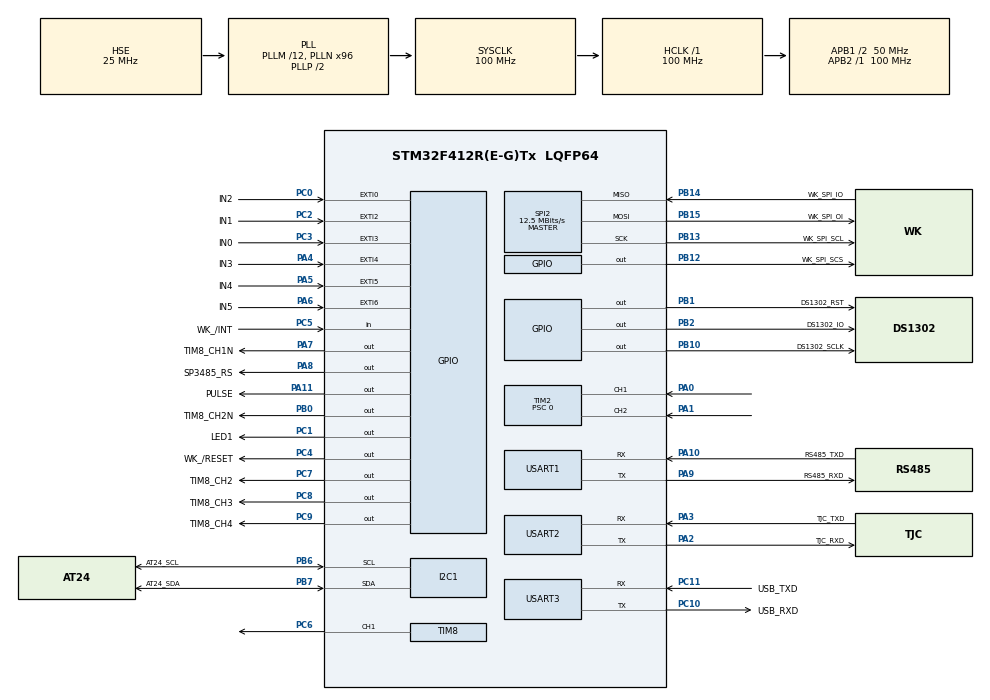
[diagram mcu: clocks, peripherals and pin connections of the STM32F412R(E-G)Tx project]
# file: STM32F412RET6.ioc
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Dma.Request0=USART1_RX
Dma.Request1=USART1_TX
Dma.USART1_RX.0.Direction=DMA_PERIPH_TO_MEMORY
Dma.USART1_RX.0.FIFOMode=DMA_FIFOMODE_DISABLE
Dma.USART1_RX.0.Instance=DMA2_Stream2
Dma.USART1_RX.0.MemDataAlignment=DMA_MDATAALIGN_BYTE
Dma.USART1_RX.0.MemInc=DMA_MINC_ENABLE
Dma.USART1_RX.0.Mode=DMA_NORMAL
Dma.USART1_RX.0.PeriphDataAlignment=DMA_PDATAALIGN_BYTE
Dma.USART1_RX.0.PeriphInc=DMA_PINC_DISABLE
Dma.USART1_RX.0.Priority=DMA_PRIORITY_LOW
Dma.USART1_TX.1.Direction=DMA_MEMORY_TO_PERIPH
Dma.USART1_TX.1.FIFOMode=DMA_FIFOMODE_DISABLE
Dma.USART1_TX.1.Instance=DMA2_Stream7
Dma.USART1_TX.1.MemDataAlignment=DMA_MDATAALIGN_BYTE
Dma.USART1_TX.1.MemInc=DMA_MINC_ENABLE
Dma.USART1_TX.1.Mode=DMA_NORMAL
Dma.USART1_TX.1.PeriphDataAlignment=DMA_PDATAALIGN_BYTE
Dma.USART1_TX.1.PeriphInc=DMA_PINC_DISABLE
Dma.USART1_TX.1.Priority=DMA_PRIORITY_LOW
FREERTOS.Queues01=myQueue01,5,uint8_t,0,Dynamic,NULL,NULL
FREERTOS.Tasks01=defaultTask,24,128,StartDefaultTask,Default,NULL,Dynamic,NULL,NULL;myTask01,8,128,StartTask01,Default,NULL,Dynamic,NULL,NULL
FREERTOS.configMAX_TASK_NAME_LEN=32
I2C1.I2C_Mode=I2C_Fast
IWDG.Prescaler=IWDG_PRESCALER_256
IWDG.Reload=4000
Mcu.Family=STM32F4
Mcu.Name=STM32F412R(E-G)Tx
Mcu.Package=LQFP64
NVIC.DMA2_Stream2_IRQn=true\:5\:0\:false\:false\:true\:true\:false\:true\:true
NVIC.DMA2_Stream7_IRQn=true\:5\:0\:false\:false\:true\:true\:false\:true\:true
NVIC.EXTI0_IRQn=true\:5\:0\:false\:false\:true\:true\:true\:true\:true
NVIC.EXTI2_IRQn=true\:5\:0\:false\:false\:true\:true\:true\:true\:true
NVIC.EXTI3_IRQn=true\:5\:0\:false\:false\:true\:true\:true\:true\:true
NVIC.I2C1_ER_IRQn=true\:5\:0\:false\:false\:true\:true\:true\:true\:true
NVIC.I2C1_EV_IRQn=true\:5\:0\:false\:false\:true\:true\:true\:true\:true
NVIC.PriorityGroup=NVIC_PRIORITYGROUP_4
NVIC.SPI2_IRQn=true\:5\:0\:false\:false\:true\:true\:true\:true\:true
NVIC.TIM1_UP_TIM10_IRQn=true\:15\:0\:false\:false\:true\:false\:false\:true\:true
NVIC.TIM2_IRQn=true\:5\:0\:true\:false\:true\:true\:true\:true\:true
NVIC.TIM3_IRQn=true\:6\:0\:true\:false\:true\:true\:true\:true\:true
NVIC.TIM8_BRK_TIM12_IRQn=true\:5\:0\:false\:false\:true\:true\:true\:true\:true
NVIC.TIM8_CC_IRQn=true\:5\:0\:false\:false\:true\:true\:true\:true\:true
NVIC.TIM8_TRG_COM_TIM14_IRQn=true\:5\:0\:false\:false\:true\:true\:true\:true\:true
NVIC.TIM8_UP_TIM13_IRQn=true\:5\:0\:false\:false\:true\:true\:true\:true\:true
NVIC.TimeBase=TIM1_UP_TIM10_IRQn
NVIC.TimeBaseIP=TIM1
NVIC.USART1_IRQn=true\:5\:0\:false\:false\:true\:true\:true\:true\:true
NVIC.USART2_IRQn=true\:5\:0\:false\:false\:true\:true\:true\:true\:true
NVIC.USART3_IRQn=true\:5\:0\:false\:false\:true\:true\:true\:true\:true
PA0.GPIO_PuPd=GPIO_PULLUP
PA0.Signal=S_TIM2_CH1_ETR
PA1.GPIO_PuPd=GPIO_PULLUP
PA1.Signal=S_TIM2_CH2
PA10.GPIO_Label=RS485_TXD
PA10.Mode=Asynchronous
PA10.Signal=USART1_RX
PA11.GPIO_Label=PULSE
PA11.GPIO_PuPd=GPIO_PULLDOWN
PA11.Signal=GPIO_Output
PA13.GPIO_Label=TMS
PA13.Mode=JTAG_5_pins
PA13.Signal=SYS_JTMS-SWDIO
PA14.GPIO_Label=TCK
PA14.Mode=JTAG_5_pins
PA14.Signal=SYS_JTCK-SWCLK
PA15.GPIO_Label=TDI
PA15.Mode=JTAG_5_pins
PA15.Signal=SYS_JTDI
PA2.GPIO_Label=TJC_RXD
PA2.Mode=Asynchronous
PA2.Signal=USART2_TX
PA3.GPIO_Label=TJC_TXD
PA3.Mode=Asynchronous
PA3.Signal=USART2_RX
PA4.GPIO_Label=IN3
PA4.GPIO_ModeDefaultEXTI=GPIO_MODE_IT_FALLING
PA4.Signal=GPXTI4
PA5.GPIO_Label=IN4
PA5.GPIO_ModeDefaultEXTI=GPIO_MODE_IT_FALLING
PA5.Signal=GPXTI5
PA6.GPIO_Label=IN5
PA6.GPIO_ModeDefaultEXTI=GPIO_MODE_IT_FALLING
PA6.Signal=GPXTI6
PA7.GPIO_Label=TIM8_CH1N
PA7.GPIO_PuPd=GPIO_PULLUP
PA7.PinState=GPIO_PIN_SET
PA7.Signal=GPIO_Output
PA8.GPIO_Label=SP3485_RS
PA8.Signal=GPIO_Output
PA9.GPIO_Label=RS485_RXD
PA9.Mode=Asynchronous
PA9.Signal=USART1_TX
PB0.GPIO_Label=TIM8_CH2N
PB0.GPIO_PuPd=GPIO_PULLUP
PB0.PinState=GPIO_PIN_SET
PB0.Signal=GPIO_Output
PB1.GPIO_Label=DS1302_RST
PB1.Signal=GPIO_Output
PB10.GPIO_Label=DS1302_SCLK
PB10.GPIO_PuPd=GPIO_PULLUP
PB10.Signal=GPIO_Output
PB12.GPIO_Label=WK_SPI_SCS
PB12.GPIO_ModeDefaultOutputPP=GPIO_MODE_OUTPUT_PP
PB12.GPIO_PuPd=GPIO_PULLUP
PB12.Signal=GPIO_Output
PB13.GPIO_Label=WK_SPI_SCL
PB13.Mode=Full_Duplex_Master
PB13.Signal=SPI2_SCK
PB14.GPIO_Label=WK_SPI_IO
PB14.Mode=Full_Duplex_Master
PB14.Signal=SPI2_MISO
PB15.GPIO_Label=WK_SPI_OI
PB15.Mode=Full_Duplex_Master
PB15.Signal=SPI2_MOSI
PB2.GPIO_Label=DS1302_IO
PB2.Signal=GPIO_Output
PB3.GPIO_Label=TDO
PB3.Mode=JTAG_5_pins
PB3.Signal=SYS_JTDO-SWO
PB4.GPIO_Label=NTRST
PB4.Mode=JTAG_5_pins
PB4.Signal=SYS_JTRST
PB6.GPIO_Label=AT24_SCL
PB6.Mode=I2C
PB6.Signal=I2C1_SCL
PB7.GPIO_Label=AT24_SDA
PB7.Mode=I2C
PB7.Signal=I2C1_SDA
PC0.GPIO_Label=IN2
PC0.GPIO_ModeDefaultEXTI=GPIO_MODE_IT_FALLING
PC0.Signal=GPXTI0
PC1.GPIO_Label=LED1
PC1.GPIO_PuPd=GPIO_PULLUP
PC1.Signal=GPIO_Output
PC10.GPIO_Label=USB_RXD
PC10.Mode=Asynchronous
PC10.Signal=USART3_TX
PC11.GPIO_Label=USB_TXD
PC11.Mode=Asynchronous
PC11.Signal=USART3_RX
PC2.GPIO_Label=IN1
PC2.GPIO_ModeDefaultEXTI=GPIO_MODE_IT_FALLING
PC2.Signal=GPXTI2
PC3.GPIO_Label=IN0
PC3.GPIO_ModeDefaultEXTI=GPIO_MODE_IT_FALLING
PC3.Signal=GPXTI3
PC4.GPIO_Label=WK_/RESET
PC4.Signal=GPIO_Output
PC5.GPIO_Label=WK_/INT
PC5.Signal=GPIO_Input
PC6.GPIO_Speed=GPIO_SPEED_FREQ_HIGH
PC6.Signal=S_TIM8_CH1
PC7.GPIO_Label=TIM8_CH2
PC7.GPIO_PuPd=GPIO_PULLUP
PC7.Signal=GPIO_Output
PC8.GPIO_Label=TIM8_CH3
PC8.GPIO_ModeDefaultOutputPP=GPIO_MODE_OUTPUT_PP
PC8.GPIO_PuPd=GPIO_PULLUP
PC8.PinState=GPIO_PIN_SET
PC8.Signal=GPIO_Output
PC9.GPIO_Label=TIM8_CH4
PC9.GPIO_PuPd=GPIO_PULLUP
PC9.PinState=GPIO_PIN_SET
PC9.Signal=GPIO_Output
PH0\ -\ OSC_IN.Mode=HSE-External-Oscillator
PH0\ -\ OSC_IN.Signal=RCC_OSC_IN
PH1\ -\ OSC_OUT.Mode=HSE-External-Oscillator
PH1\ -\ OSC_OUT.Signal=RCC_OSC_OUT
ProjectManager.HeapSize=0x200
ProjectManager.StackSize=0x400
ProjectManager.TargetToolchain=MDK-ARM V5.32
RCC.AHBFreq_Value=100000000
RCC.APB1CLKDivider=RCC_HCLK_DIV2
RCC.APB1Freq_Value=50000000
RCC.APB1TimFreq_Value=100000000
RCC.APB2Freq_Value=100000000
RCC.APB2TimFreq_Value=100000000
RCC.CortexFreq_Value=100000000
RCC.HCLKFreq_Value=100000000
RCC.PLLM=12
RCC.PLLN=96
RCC.PLLSourceVirtual=RCC_PLLSOURCE_HSE
RCC.SYSCLKFreq_VALUE=100000000
RCC.SYSCLKSource=RCC_SYSCLKSOURCE_PLLCLK
RCC.USBFreq_Value=100000000
RCC.VCOOutputFreq_Value=200000000
SH.S_TIM2_CH1_ETR.0=TIM2_CH1,Encoder_Interface
SH.S_TIM2_CH2.0=TIM2_CH2,Encoder_Interface
SH.S_TIM8_CH1.0=TIM8_CH1,PWM Generation1 CH1
SPI2.BaudRatePrescaler=SPI_BAUDRATEPRESCALER_4
SPI2.CLKPhase=SPI_PHASE_2EDGE
SPI2.CLKPolarity=SPI_POLARITY_HIGH
SPI2.CalculateBaudRate=12.5 MBits/s
SPI2.Direction=SPI_DIRECTION_2LINES
SPI2.Mode=SPI_MODE_MASTER
SPI2.VirtualType=VM_MASTER
TIM13.Period=50-1
TIM13.Prescaler=100-1
TIM2.EncoderMode=TIM_ENCODERMODE_TI12
TIM2.IC1Filter=6
TIM2.IC2Filter=6
TIM2.Period=20000
TIM2.Prescaler=0
TIM3.AutoReloadPreload=TIM_AUTORELOAD_PRELOAD_ENABLE
TIM3.Period=100-1
TIM3.Prescaler=100-1
TIM8.AutoReloadPreload=TIM_AUTORELOAD_PRELOAD_ENABLE
TIM8.Channel-PWM\ Generation1\ CH1=TIM_CHANNEL_1
TIM8.OCPolarity_1=TIM_OCPOLARITY_LOW
TIM8.Period=100-1
TIM8.Prescaler=100-1
TIM8.Pulse-PWM\ Generation1\ CH1=10
USART1.VirtualMode=VM_ASYNC
USART2.VirtualMode=VM_ASYNC
USART3.VirtualMode=VM_ASYNC
VP_FREERTOS_VS_CMSIS_V2.Mode=CMSIS_V2
VP_IWDG_VS_IWDG.Mode=IWDG_Activate
VP_SYS_VS_tim1.Mode=TIM1
VP_TIM13_VS_ClockSourceINT.Mode=Enable_Timer
VP_TIM3_VS_ClockSourceINT.Mode=Internal
board=custom

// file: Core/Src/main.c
/* USER CODE BEGIN Header */
/**
  ******************************************************************************
  * @file           : main.c
  * @brief          : Main program body
  ******************************************************************************
  * @attention
  *
  * Copyright (c) 2024 STMicroelectronics.
  * All rights reserved.
  *
  * This software is licensed under terms that can be found in the LICENSE file
  * in the root directory of this software component.
  * If no LICENSE file comes with this software, it is provided AS-IS.
  *
  ******************************************************************************
  */
/* USER CODE END Header */
#include "main.h"
#include "cmsis_os.h"
#include "dma.h"
#include "i2c.h"
#include "iwdg.h"
#include "spi.h"
#include "tim.h"
#include "usart.h"
#include "gpio.h"

/* USER CODE BEGIN PTD */
float speed_Record[SPEED_RECORD_NUM]={0};
int32_t Motor_pulsec_ount;//输入电机脉冲数
/* USER CODE END PTD */

void SystemClock_Config(void);
void MX_FREERTOS_Init(void);

int main(void)
{

  /* MCU Configuration--------------------------------------------------------*/

  /* Reset of all peripherals, Initializes the Flash interface and the Systick. */
  HAL_Init();

  /* Configure the system clock */
  SystemClock_Config();

  /* Initialize all configured peripherals */
  MX_GPIO_Init();
  MX_DMA_Init();
  MX_TIM2_Init();
  MX_USART1_UART_Init();
  MX_I2C1_Init();
  MX_SPI2_Init();
  MX_TIM3_Init();
  MX_TIM8_Init();
  MX_TIM13_Init();
  MX_USART3_UART_Init();
  MX_IWDG_Init();
  MX_USART2_UART_Init();

  /* Init scheduler */
  osKernelInitialize();  /* Call init function for freertos objects (in freertos.c) */
  MX_FREERTOS_Init();

  /* Start scheduler */
  osKernelStart();

  /* We should never get here as control is now taken by the scheduler */
  /* Infinite loop */
  while (1)
  {

  }
}

void SystemClock_Config(void)
{
  RCC_OscInitTypeDef RCC_OscInitStruct = {0};
  RCC_ClkInitTypeDef RCC_ClkInitStruct = {0};

  /** Configure the main internal regulator output voltage
  */
  __HAL_RCC_PWR_CLK_ENABLE();
  __HAL_PWR_VOLTAGESCALING_CONFIG(PWR_REGULATOR_VOLTAGE_SCALE1);

  /** Initializes the RCC Oscillators according to the specified parameters
  * in the RCC_OscInitTypeDef structure.
  */
  RCC_OscInitStruct.OscillatorType = RCC_OSCILLATORTYPE_LSI|RCC_OSCILLATORTYPE_HSE;
  RCC_OscInitStruct.HSEState = RCC_HSE_ON;
  RCC_OscInitStruct.LSIState = RCC_LSI_ON;
  RCC_OscInitStruct.PLL.PLLState = RCC_PLL_ON;
  RCC_OscInitStruct.PLL.PLLSource = RCC_PLLSOURCE_HSE;
  RCC_OscInitStruct.PLL.PLLM = 12;
  RCC_OscInitStruct.PLL.PLLN = 96;
  RCC_OscInitStruct.PLL.PLLP = RCC_PLLP_DIV2;
  RCC_OscInitStruct.PLL.PLLQ = 2;
  RCC_OscInitStruct.PLL.PLLR = 2;
  if (HAL_RCC_OscConfig(&RCC_OscInitStruct) != HAL_OK)
  {
    Error_Handler();
  }

  /** Initializes the CPU, AHB and APB buses clocks
  */
  RCC_ClkInitStruct.ClockType = RCC_CLOCKTYPE_HCLK|RCC_CLOCKTYPE_SYSCLK
                              |RCC_CLOCKTYPE_PCLK1|RCC_CLOCKTYPE_PCLK2;
  RCC_ClkInitStruct.SYSCLKSource = RCC_SYSCLKSOURCE_PLLCLK;
  RCC_ClkInitStruct.AHBCLKDivider = RCC_SYSCLK_DIV1;
  RCC_ClkInitStruct.APB1CLKDivider = RCC_HCLK_DIV2;
  RCC_ClkInitStruct.APB2CLKDivider = RCC_HCLK_DIV1;

  if (HAL_RCC_ClockConfig(&RCC_ClkInitStruct, FLASH_LATENCY_3) != HAL_OK)
  {
    Error_Handler();
  }
}

/* USER CODE BEGIN 4 */

void HAL_GPIO_EXTI_Callback(uint16_t GPIO_Pin)//GPIO中断回调函数
{
	if(GPIO_Pin==IN0_Pin)//尾
	{
		__HAL_GPIO_EXTI_CLEAR_IT(IN0_Pin);//清除中断标志位
		Extreme_position_flag=1;
		Zero_regression_flag=0;
	}

	else if(GPIO_Pin==IN1_Pin)//原点
	{
		Position_flag=1;
		Sports_status_flag=0;
		Zero_regression_flag=1;
		Hard_Trigger_Current_Number=0;
//		HAL_GPIO_WritePin(TIM8_CH1N_GPIO_Port,TIM8_CH1N_Pin,GPIO_PIN_SET);//PA7-电机使能正输入(GPIO_PIN_RESET:开始，GPIO_PIN_SET:停止）
		HAL_TIM_PWM_Stop_IT(&htim8,TIM_CHANNEL_1);//关闭PWM输出
		Motor_pulsec_ount=0;
		Encoder_Processing_flag=1;
		__HAL_GPIO_EXTI_CLEAR_IT(IN1_Pin);//清除中断标志位
	}

	else if(GPIO_Pin==IN2_Pin)//头
	{
		__HAL_GPIO_EXTI_CLEAR_IT(IN2_Pin);//清除中断标志位
		Extreme_position_flag=1;
		Zero_regression_flag=0;
	}
}

/* USER CODE END 4 */

void HAL_TIM_PeriodElapsedCallback(TIM_HandleTypeDef *htim)
{
  if (htim->Instance == TIM1) {
    HAL_IncTick();
  }
  /* USER CODE BEGIN Callback 1 */
	else if(htim->Instance==TIM8)//PWM输出
	{
		Encoder_Processing_flag=1;
		if(HAL_GPIO_ReadPin(TIM8_CH2_GPIO_Port,TIM8_CH2_Pin)==GPIO_PIN_RESET&&Sports_status_flag==1)//正转
		{
			Motor_pulsec_ount++;
		}
		else if(HAL_GPIO_ReadPin(TIM8_CH2_GPIO_Port,TIM8_CH2_Pin)==GPIO_PIN_SET&&Sports_status_flag==1)//反转
		{
			Motor_pulsec_ount--;
		}
	}
	else if(htim->Instance==TIM13)//硬触发定时50us一次
	{
		if(Hard_Trigger_flag==1)
		{
			HAL_GPIO_WritePin(PULSE_GPIO_Port, PULSE_Pin, GPIO_PIN_RESET);//硬触发关闭
			HAL_TIM_Base_Stop_IT(&htim13);
		}
	}
  /* USER CODE END Callback 1 */
}

void Error_Handler(void)
{
  __disable_irq();
  while (1)
  {
  }
}

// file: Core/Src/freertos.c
/* USER CODE BEGIN Header */
/**
  ******************************************************************************
  * File Name          : freertos.c
  * Description        : Code for freertos applications
  ******************************************************************************
  * @attention
  *
  * Copyright (c) 2024 STMicroelectronics.
  * All rights reserved.
  *
  * This software is licensed under terms that can be found in the LICENSE file
  * in the root directory of this software component.
  * If no LICENSE file comes with this software, it is provided AS-IS.
  *
  ******************************************************************************
  */
/* USER CODE END Header */

#include "FreeRTOS.h"
#include "task.h"
#include "main.h"
#include "cmsis_os.h"

/* USER CODE BEGIN Includes */

/* TIM8_CH1(PWM输出)-OUT1；TIM8_CH1N(电机使能)-OUT2；TIM8_CH2(电机方向控制)-OUT3；TIM8_CH2N(伺服复位)-OUT4；TIM8_CH3(雷达上电)-OUT5；TIM8_CH4(清除滞留脉冲)-OUT6 */

/* USER CODE END Includes */

/* USER CODE BEGIN PTD */
wiz_NetInfo gWIZNETINFO = {
  .mac = { 0x80, 0x80, 0x80,0x80,0x80,0x80 },//MSB - LSB
  .ip  = { 192, 168, 1, 11 },
  .sn  = { 255, 255, 255, 0 },
  .gw  = { 192, 168, 1, 1 },//网关参数
  .dns  = { 8, 8, 8, 8 },
  .dhcp = NETINFO_STATIC };

uint8_t receive_buff[RECEIVE_BUFF_SIZE];

//Motor motor1;

float Position=0;//距0点位置,单位mm
uint32_t Position_upload=0;//距0点距离上传值（单位0.001mm）
uint32_t zero_return_speed_value=20000;//回零速度（单位0.001mm/s）
uint16_t pwmVal_TIM8 = 0;  //占空比大小(CCRx的大小，高电平时间)
uint8_t Position_flag=0;//原点位置标志位
uint8_t Sports_status_flag=0;//运动状态标志位
uint8_t Extreme_position_flag=0;//极限位置标志位
uint8_t Position_upload_flag=1;//位置上传标志位
uint8_t Encoder_Processing_flag=0;//编码器数据处理标志位
uint8_t Zero_regression_flag=0;//是否回零过标志位
uint8_t Absolute_position_flag=0;//绝对位置标志位
uint8_t Servo_reset_flag=0;//伺服复位标志位
uint8_t Detained_pulse_flag=0;//滞留脉冲清楚标志位
float Track_Length=0;//轨道长，单位毫米
uint32_t Target_Position=0;//目标位置
uint32_t Zero_Position=0;//零点位置
uint8_t Sports_mode=0;//运动模式
uint16_t Hard_Trigger_Number=0;//硬触发个数
uint16_t Hard_Trigger_Current_Number=0;//硬触发当前个数
uint32_t Hard_Trigger_Interval=0;//硬触发时间间隔
uint32_t Hard_Trigger_Position=0;//硬触发开始位置
uint8_t Hard_Trigger_start_flag=0;//硬触发开始标志位
uint8_t Hard_Trigger_flag=0;//硬触发标志位
uint32_t Trigger_Interval;//触发间隔
float Position_lastpulsec;//上次硬触发位置
uint8_t Iwdg_Number=0;//看门狗计数
/* USER CODE END PTD */

/* Definitions for defaultTask */
osThreadId_t defaultTaskHandle;
const osThreadAttr_t defaultTask_attributes = {
  .name = "defaultTask",
  .stack_size = 128 * 4,
  .priority = (osPriority_t) osPriorityNormal,
};
/* Definitions for myTask01 */
osThreadId_t myTask01Handle;
const osThreadAttr_t myTask01_attributes = {
  .name = "myTask01",
  .stack_size = 128 * 4,
  .priority = (osPriority_t) osPriorityLow,
};
/* Definitions for myQueue01 */
osMessageQueueId_t myQueue01Handle;
const osMessageQueueAttr_t myQueue01_attributes = {
  .name = "myQueue01"
};

/* USER CODE BEGIN FunctionPrototypes */
osThreadId_t Ethernet_ServerTaskHandle;
const osThreadAttr_t Ethernet_ServerTask_attributes = {
  .name = "Ethernet_ServerTask",
  .stack_size = 256 * 4,
  .priority = (osPriority_t) osPriorityLow,
};

osThreadId_t EncoderTaskHandle;
const osThreadAttr_t EncoderTask_attributes = {
  .name = "EncoderTask",
  .stack_size = 128 * 4,
  .priority = (osPriority_t) osPriorityLow,
};

osThreadId_t DriveTaskHandle;
const osThreadAttr_t DriveTask_attributes = {
  .name = "DriveTask",
  .stack_size = 128 * 4,
  .priority = (osPriority_t) osPriorityLow,
};

osThreadId_t Motor_driveTaskHandle;
const osThreadAttr_t Motor_driveTask_attributes = {
  .name = "Motor_driveTask",
  .stack_size = 128 * 4,
  .priority = (osPriority_t) osPriorityLow,
};

osThreadId_t Pulse_EmissionTaskHandle;
const osThreadAttr_t Pulse_EmissionTask_attributes = {
  .name = "Pulse_EmissionTask",
  .stack_size = 128 * 4,
  .priority = (osPriority_t) osPriorityLow,
};

osThreadId_t Extreme_position_DriveTaskHandle;
const osThreadAttr_t Extreme_position_DriveTask_attributes = {
  .name = "Extreme_position_DriveTask",
  .stack_size = 128 * 4,
  .priority = (osPriority_t) osPriorityLow,
};

osThreadId_t Uart3_CommunicateTaskHandle;
const osThreadAttr_t Uart3_CommunicateTask_attributes = {
  .name = "Uart3_CommunicateTask",
  .stack_size = 128 * 4,
  .priority = (osPriority_t) osPriorityLow,
};

osThreadId_t Servo_resetTaskHandle;
const osThreadAttr_t Servo_resetTask_attributes = {
  .name = "Servo_resetTask",
  .stack_size = 128 * 4,
  .priority = (osPriority_t) osPriorityLow,
};

osThreadId_t Iwdg_functionTaskHandle;
const osThreadAttr_t Iwdg_functionTask_attributes = {
  .name = "Iwdg_functionTask",
  .stack_size = 128 * 4,
  .priority = (osPriority_t) osPriorityLow,
};

osThreadId_t Detained_pulseTaskHandle;
const osThreadAttr_t Detained_pulseTask_attributes = {
  .name = "Detained_pulseTask",
  .stack_size = 128 * 4,
  .priority = (osPriority_t) osPriorityLow,
};

osMessageQueueId_t Ethernet_ReceiveHandle;
const osMessageQueueAttr_t Ethernet_Receive_attributes = {
  .name = "Ethernet_Receive"
};

osMessageQueueId_t Ethernet_SendHandle;
const osMessageQueueAttr_t Ethernet_Send_attributes = {
  .name = "Ethernet_Send"
};

osMessageQueueId_t Motor_driveQueueHandle;
const osMessageQueueAttr_t Motor_driveQueue_attributes = {
  .name = "Motor_driveQueue"
};

void Ethernet_Server(void *argument);//网络通信-服务端
void Encoder(void *argument);//电动机编码器通讯
void Drive(void *argument);//控制驱动器
void Motor_drive(void *argument);//电动驱动
void Pulse_Emission(void *argument);//脉冲发射
void Extreme_position_Drive(void *argument);//极限位置控制
void Uart3_Communicate(void *argument);//极限位置控制
void Servo_reset(void *argument);//伺服复位
void Iwdg_function(void *argument);//看门狗函数
void Detained_pulse(void *argument);//滞留脉冲清除
/* USER CODE END FunctionPrototypes */

void StartDefaultTask(void *argument);
void StartTask01(void *argument);

void MX_FREERTOS_Init(void); /* (MISRA C 2004 rule 8.1) */

void MX_FREERTOS_Init(void) {

  /* Create the queue(s) */
  /* creation of myQueue01 */
  myQueue01Handle = osMessageQueueNew (5, sizeof(uint8_t), &myQueue01_attributes);

  /* Create the thread(s) */
  /* creation of defaultTask */
  defaultTaskHandle = osThreadNew(StartDefaultTask, NULL, &defaultTask_attributes);

  /* creation of myTask01 */
  myTask01Handle = osThreadNew(StartTask01, NULL, &myTask01_attributes);

  /* USER CODE BEGIN RTOS_THREADS */
	Ethernet_ServerTaskHandle = osThreadNew(Ethernet_Server, NULL, &Ethernet_ServerTask_attributes);
	EncoderTaskHandle = osThreadNew(Encoder, NULL, &EncoderTask_attributes);
	DriveTaskHandle = osThreadNew(Drive, NULL, &DriveTask_attributes);
	Motor_driveTaskHandle = osThreadNew(Motor_drive, NULL, &Motor_driveTask_attributes);
	Pulse_EmissionTaskHandle = osThreadNew(Pulse_Emission, NULL, &Pulse_EmissionTask_attributes);
	Extreme_position_DriveTaskHandle = osThreadNew(Extreme_position_Drive, NULL, &Extreme_position_DriveTask_attributes);
	Uart3_CommunicateTaskHandle = osThreadNew(Uart3_Communicate, NULL, &Uart3_CommunicateTask_attributes);
	Servo_resetTaskHandle = osThreadNew(Servo_reset, NULL, &Servo_resetTask_attributes);
	Iwdg_functionTaskHandle = osThreadNew(Iwdg_function, NULL, &Iwdg_functionTask_attributes);
	Detained_pulseTaskHandle = osThreadNew(Detained_pulse, NULL, &Detained_pulseTask_attributes);

	Ethernet_ReceiveHandle = osMessageQueueNew (5, 20*sizeof(uint8_t), &Ethernet_Receive_attributes);
	Ethernet_SendHandle = osMessageQueueNew (5, 20*sizeof(uint8_t), &Ethernet_Send_attributes);
	Motor_driveQueueHandle = osMessageQueueNew (5, 3*sizeof(uint8_t), &Motor_driveQueue_attributes);

  /* add threads, ... */
  /* USER CODE END RTOS_THREADS */

  /* USER CODE BEGIN RTOS_EVENTS */
	if(HAL_GPIO_ReadPin(IN1_GPIO_Port,IN1_Pin)==GPIO_PIN_RESET)//在原点
	{
		Position=0;
		Position_flag=1;
		Zero_regression_flag=1;
		Motor_pulsec_ount=0;
		HAL_GPIO_WritePin(TIM8_CH2_GPIO_Port,TIM8_CH2_Pin,GPIO_PIN_RESET);
	}
	else
	{
		Motor_pulsec_ount=0xffffff;
		Position=2000;
	}
  /* add events, ... */
  /* USER CODE END RTOS_EVENTS */

}

void StartDefaultTask(void *argument)
{
  for(;;)
  {
    osDelay(1);
  }
}

void StartTask01(void *argument)
{
  /* USER CODE BEGIN StartTask01 */
  /* Infinite loop */
  for(;;)
  {
    osDelay(1);
		osDelay(100);
		HAL_GPIO_TogglePin(GPIOC, LED1_Pin);
  }
  /* USER CODE END StartTask01 */
}

/* USER CODE BEGIN Application */

void Ethernet_Server(void *argument)//网口通信-服务端
{
  W5500Init();//w5500初始化
  ctlnetwork(CN_SET_NETINFO, (void*)&gWIZNETINFO);  //配置网络参数
  wiz_PhyConf phyconf;
  phyconf.by = PHY_CONFBY_SW;
  phyconf.duplex = PHY_DUPLEX_FULL;
  phyconf.speed = PHY_SPEED_10;
  phyconf.mode = PHY_MODE_AUTONEGO;
  ctlwizchip(CW_SET_PHYCONF, (void*)&phyconf); //配置PHY参数
  for(;;)
  {
		net_process_socket(1, LISTEN_PORT_1);
		net_process_socket(2, LISTEN_PORT_2);
		osDelay(10);
  }
}

void Drive(void *argument)//控制驱动器
{
	uint8_t	send_buff[13];
	uint8_t status=0;
	uint32_t running_speed_value=2000;//运行速度
	uint32_t zero_return_creep_speed_value=0;//回零蠕变速度
	uint8_t Drive_control_array[20];	//驱动器控制数组
	uint16_t Data_Bytes=0;//数据字节
	uint8_t Motor_drive_send[3];//电机驱动数组
  for(;;)
  {
		osDelay(1);
		status=osMessageQueueGet(Ethernet_ReceiveHandle,Drive_control_array,NULL,10);
		if(status==osOK)
		{
			Iwdg_Number=0;
			send_buff[0]=Drive_control_array[0];//0X19;事务处理标识
			send_buff[1]=Drive_control_array[1];//0XB2;事务处理标识
			send_buff[2]=0X00;//协议标识符，00 00为modbus协议
			send_buff[3]=0X00;//协议标识符，00 00为modbus协议
			send_buff[6]=Drive_control_array[6];//0XDB;设备地址
			send_buff[7]=Drive_control_array[7];//功能码
			switch(Drive_control_array[7])//判断功能码
			{
				case 0x01://读线圈(MBAP 功能码 起始地址H 起始地址L 线圈数量H 线圈数量L)
					if(Drive_control_array[8]==0x20)//判断起始地址
					{
						switch(Drive_control_array[9])//判断起始地址
						{
							case 0x0A://原点回归完成标志

								break;

							case 0x64://伺服运动状态
								send_buff[4]=0X00;//数据长度
								send_buff[5]=0X05;//数据长度
								send_buff[8]=0X01;//接下来数据的字节长度
								if(Sports_status_flag==1)//运动
								{
									send_buff[9]=0X01;//数据
								}
								else if(Sports_status_flag==0)//停止
								{
									send_buff[9]=0X00;//数据
								}
								send(1,send_buff,10);//向客户端发送
								memset(send_buff,0,13);
								break;

							case 0x01://原点回归/停止
								send_buff[4]=0X00;//数据长度
								send_buff[5]=0X05;//数据长度
								send_buff[8]=0X01;//接下来数据的字节长度
								if(Sports_status_flag==1&&Position_flag==0)//回零中
								{
									send_buff[9]=0X01;
								}
								else if(Sports_status_flag==0&&Position_flag==1)//回零
								{
									send_buff[9]=0X00;
								}
								send(1,send_buff,10);//向客户端发送
								memset(send_buff,0,13);
								break;

							case 0x02://正转点动/停止

								break;

							case 0x03://反转点动/停止

								break;

							case 0x04://相对运动/停止

								break;

							case 0x05://绝对运动/停止
								send_buff[4]=0X00;//数据长度
								send_buff[5]=0X05;//数据长度
								send_buff[8]=0X01;//接下来数据的字节长度
								if(Sports_status_flag==1)//运动
								{
									send_buff[9]=0X01;//数据
								}
								else if(Sports_status_flag==0)//停止
								{
									send_buff[9]=0X00;//数据
								}
								send(1,send_buff,10);//向客户端发送
								memset(send_buff,0,13);
								break;

							case 0x00://硬触发启动/停止
								send_buff[4]=0X00;//数据长度
								send_buff[5]=0X05;//数据长度
								send_buff[8]=0X01;//接下来数据的字节长度
								if(Hard_Trigger_start_flag==1)//触发
								{
									send_buff[9]=0X01;//数据
								}
								else//停止
								{
									send_buff[9]=0X00;//数据
								}
								send(1,send_buff,10);//向客户端发送
								memset(send_buff,0,13);
								break;

							case 0x06://伺服复位
								send_buff[4]=0X00;//数据长度
								send_buff[5]=0X05;//数据长度
								send_buff[8]=0X01;//接下来数据的字节长度
								if(Servo_reset_flag==0)//复位完成
								{
									send_buff[9]=0X01;
								}
								else if(Servo_reset_flag==1)//复位未完成
								{
									send_buff[9]=0X00;
								}
								send(1,send_buff,10);//向客户端发送
								memset(send_buff,0,13);
								break;

							case 0x09://雷达上电/断电
								send_buff[4]=0X00;//数据长度
								send_buff[5]=0X06;//数据长度
								send_buff[8]=0X01;//接下来数据的字节长度
//								if()//上电
//								{
//									send_buff[9]=0X01;//数据
//								}
//								else//
//								{
//									send_buff[9]=0X00;//数据
//								}
								send(1,send_buff,10);//向客户端发送
								memset(send_buff,0,13);
								break;

							default:
								break;
						}
					}
					break;

				case 0x02://读离散量输入
					send_buff[4]=0X00;//数据长度
					send_buff[5]=0X04;//数据长度
					send_buff[8]=0X01;//接下来数据的字节长度
					if(Drive_control_array[8]==0x00&&Drive_control_array[9]==0x01)//判断起始地址——正转极限光电状态
					{
						if(HAL_GPIO_ReadPin(IN2_GPIO_Port,IN2_Pin)==GPIO_PIN_RESET)//到达限位
						{
							send_buff[9]=0X01;//数据
							send(1,send_buff,10);//向客户端发送
							memset(send_buff,0,13);
						}
						else
						{
							send_buff[9]=0X00;//数据
							send(1,send_buff,10);//向客户端发送
							memset(send_buff,0,13);
						}
					}
					else if(Drive_control_array[8]==0x00&&Drive_control_array[9]==0x03)//判断起始地址——反转极限光电状态
					{
						if(HAL_GPIO_ReadPin(IN0_GPIO_Port,IN0_Pin)==GPIO_PIN_RESET)//到达限位
						{
							send_buff[9]=0X01;//数据
							send(1,send_buff,10);//向客户端发送
							memset(send_buff,0,13);
						}
						else
						{
							send_buff[9]=0X00;//数据
							send(1,send_buff,10);//向客户端发送
							memset(send_buff,0,13);
						}
					}
					else if(Drive_control_array[8]==0x00&&Drive_control_array[9]==0x04)//判断起始地址——零点限位触发状态
					{
						if(HAL_GPIO_ReadPin(IN1_GPIO_Port,IN1_Pin)==GPIO_PIN_RESET)//到达限位
						{
							send_buff[9]=0X01;//数据
							send(1,send_buff,10);//向客户端发送
							memset(send_buff,0,13);
						}
						else
						{
							send_buff[9]=0X00;//数据
							send(1,send_buff,10);//向客户端发送
							memset(send_buff,0,13);
						}
					}
					else if(Drive_control_array[8]==0x00&&Drive_control_array[9]==0x05)//判断起始地址——伺服报警状态
					{

					}
					break;

				case 0x03://读保持寄存器(MBAP 功能码 起始地址H 起始地址L 寄存器数量H 寄存器数量L)
					Data_Bytes=(Drive_control_array[10]<<8|Drive_control_array[11])*2;//大端传输数据处理——读取数据字节
					send_buff[4]=0X00;//数据长度
					send_buff[5]=0x03+Data_Bytes;//数据长度
					if(Drive_control_array[8]==0x01)//判断起始地址
					{
						if(Data_Bytes==0x02)
						{
							if(Drive_control_array[9]==0x4A)//判断起始地址——加速时间
							{
								send_buff[8]=Data_Bytes;//接下来数据的字节长度
								send_buff[9]=0X00;//数据
								send_buff[10]=0X00;//数据
								send(1,send_buff,11);//向客户端发送
								memset(send_buff,0,13);
							}
							else if(Drive_control_array[9]==0x4E)//判断起始地址——减速时间
							{
								send_buff[8]=Data_Bytes;//接下来数据的字节长度
								send_buff[9]=0X00;//数据
								send_buff[10]=0X00;//数据
								send(1,send_buff,11);//向客户端发送
								memset(send_buff,0,13);
							}
							else if(Drive_control_array[9]==0x00)//判断起始地址——实时位置上传控制
							{
								send_buff[8]=Data_Bytes;//接下来数据的字节长度
								send_buff[9]=(Position_upload>>8)&0xFF;//数据
								send_buff[10]=Position_upload&0xFF;//数据
								send(1,send_buff,11);//向客户端发送
								memset(send_buff,0,13);
							}
							else if(Drive_control_array[9]==0x30)//判断起始地址——硬触发个数
							{
								send_buff[8]=Data_Bytes;//接下来数据的字节长度
								send_buff[9]=(Hard_Trigger_Number>>8)&0xFF;//数据
								send_buff[10]=Hard_Trigger_Number&0xFF;//数据
								send(1,send_buff,11);//向客户端发送
								memset(send_buff,0,13);
							}
							else if(Drive_control_array[9]==0x32)//判断起始地址——当前硬触发个数
							{
								send_buff[8]=Data_Bytes;//接下来数据的字节长度
								send_buff[9]=0X00;//数据
								send_buff[10]=0X00;//数据
								send(1,send_buff,11);//向客户端发送
								memset(send_buff,0,13);
							}
							else if(Drive_control_array[9]==0x77)//判断起始地址——上电后是否执行过归零
							{
								send_buff[8]=Data_Bytes;//接下来数据的字节长度
								if(Zero_regression_flag==1)
								{
									send_buff[9]=0X00;//数据
									send_buff[10]=0X01;//数据
									send(1,send_buff,11);//向客户端发送
									memset(send_buff,0,13);
								}
								else if(Zero_regression_flag==0)
								{
									send_buff[9]=0X00;//数据
									send_buff[10]=0X00;//数据
									send(1,send_buff,11);//向客户端发送
									memset(send_buff,0,13);
								}
							}
						}
						else if(Data_Bytes==0x04)
						{
							if(Drive_control_array[9]==0x2C)//判断起始地址——起始硬触发位置
							{
								send_buff[8]=Data_Bytes;//接下来数据的字节长度
								send_buff[11]=(Hard_Trigger_Position>>24)&0xFF;//数据
								send_buff[12]=(Hard_Trigger_Position>>16)&0xFF;//数据
								send_buff[9]=(Hard_Trigger_Position>>8)&0xFF;//数据
								send_buff[10]=Hard_Trigger_Position&0xFF;//数据
								send(1,send_buff,13);//向客户端发送
								memset(send_buff,0,13);
							}
							else if(Drive_control_array[9]==0x2E)//判断起始地址——硬触发间隔
							{
								send_buff[8]=Data_Bytes;//接下来数据的字节长度
								send_buff[11]=(Hard_Trigger_Interval>>24)&0xFF;//寄存器1H-数据
								send_buff[12]=(Hard_Trigger_Interval>>16)&0xFF;//寄存器1L数据
								send_buff[9]=(Hard_Trigger_Interval>>8)&0xFF;//寄存器2H数据
								send_buff[10]=Hard_Trigger_Interval&0xFF;//寄存器2L数据
								send(1,send_buff,13);//向客户端发送
								memset(send_buff,0,13);
							}
						}
					}

					else if(Drive_control_array[8]==0x00)//判断起始地址
					{
						if(Data_Bytes==0x02)
						{
							if(Drive_control_array[9]==0x20)//判断起始地址——伺服错误代码
							{
								send_buff[8]=Data_Bytes;//接下来数据的字节长度
								send_buff[9]=0X00;//数据
								send_buff[10]=0X00;//数据
								send(1,send_buff,11);//向客户端发送
								memset(send_buff,0,13);
							}
							else if(Drive_control_array[9]==0x96)//判断起始地址——PLC错误代码
							{
								send_buff[8]=Data_Bytes;//接下来数据的字节长度
								send_buff[9]=0X00;//数据
								send_buff[10]=0X00;//数据
								send(1,send_buff,11);//向客户端发送
								memset(send_buff,0,13);
							}
						}
						else if(Data_Bytes==0x04)
						{
							if(Drive_control_array[9]==0x64)//判断起始地址——回零速度
							{
								send_buff[8]=Data_Bytes;//接下来数据的字节长度
								send_buff[11]=(zero_return_speed_value>>24)&0xFF;//数据
								send_buff[12]=(zero_return_speed_value>>16)&0xFF;//数据
								send_buff[9]=(zero_return_speed_value>>8)&0xFF;//数据
								send_buff[10]=zero_return_speed_value&0xFF;//数据
								send(1,send_buff,13);//向客户端发送
								memset(send_buff,0,13);
							}
							else if(Drive_control_array[9]==0x68)//判断起始地址——回零蠕变速度
							{
								send_buff[8]=Data_Bytes;//接下来数据的字节长度
								send_buff[11]=(zero_return_creep_speed_value>>24)&0xFF;//寄存器1H-数据
								send_buff[12]=(zero_return_creep_speed_value>>16)&0xFF;//寄存器1L-数据
								send_buff[9]=(zero_return_creep_speed_value>>8)&0xFF;//寄存器2H-数据
								send_buff[10]=zero_return_creep_speed_value&0xFF;//寄存器2L-数据
								send(1,send_buff,13);//向客户端发送
								memset(send_buff,0,13);
							}
							else if(Drive_control_array[9]==0x78)//判断起始地址——运行速度
							{
								send_buff[8]=Data_Bytes;//接下来数据的字节长度
								send_buff[11]=(running_speed_value>>24)&0xFF;//寄存器1H-数据
								send_buff[12]=(running_speed_value>>16)&0xFF;//寄存器1L-数据
								send_buff[9]=(running_speed_value>>8)&0xFF;//寄存器2H-数据
								send_buff[10]=running_speed_value&0xFF;//寄存器2L-数据
								send(1,send_buff,13);//向客户端发送
								memset(send_buff,0,13);
							}
							else if(Drive_control_array[9]==0x7A)//判断起始地址——相对定位距离
							{
								send_buff[8]=Data_Bytes;//接下来数据的字节长度
								send_buff[11]=0X00;//寄存器1H-数据
								send_buff[12]=0X00;//寄存器1L-数据
								send_buff[9]=0X00;//寄存器2H-数据
								send_buff[10]=0X00;//寄存器2L-数据
								send(1,send_buff,13);//向客户端发送
								memset(send_buff,0,13);
							}
							else if(Drive_control_array[9]==0x7C)//判断起始地址——绝对定位位置
							{
								send_buff[8]=Data_Bytes;//接下来数据的字节长度
								send_buff[11]=(Target_Position>>24)&0xFF;//寄存器1H-数据
								send_buff[12]=(Target_Position>>16)&0xFF;//寄存器1L-数据
								send_buff[9]=(Target_Position>>8)&0xFF;//寄存器2H-数据
								send_buff[10]=Target_Position&0xFF;//寄存器2L-数据
								send(1,send_buff,13);//向客户端发送
								memset(send_buff,0,13);
							}
							else if(Drive_control_array[9]==0x7E)//判断起始地址——设备最大运行行程
							{
								send_buff[8]=Data_Bytes;//接下来数据的字节长度
								send_buff[9]=0X00;//寄存器1H-数据
								send_buff[10]=0X00;//寄存器1L-数据
								send_buff[11]=0X00;//寄存器2H-数据
								send_buff[12]=0X00;//寄存器2L-数据
								send(1,send_buff,13);//向客户端发送
								memset(send_buff,0,13);
							}
							else if(Drive_control_array[9]==0x80)//判断起始地址——零点位置坐标
							{
								send_buff[8]=Data_Bytes;//接下来数据的字节长度
								send_buff[11]=(Zero_Position>>24)&0xFF;//寄存器1H-数据
								send_buff[12]=(Zero_Position>>16)&0xFF;//寄存器1L-数据
								send_buff[9]=(Zero_Position>>8)&0xFF;//寄存器2H-数据
								send_buff[10]=Zero_Position&0xFF;//寄存器2L-数据
								send(1,send_buff,13);//向客户端发送
								memset(send_buff,0,13);
							}
							else if(Drive_control_array[9]==0x87)//判断起始地址——实时位置主动读取
							{
								send_buff[8]=Data_Bytes;//接下来数据的字节长度
								send_buff[11]=(Position_upload>>24)&0xFF;//寄存器1H-数据
								send_buff[12]=(Position_upload>>16)&0xFF;//寄存器1L-数据
								send_buff[9]=(Position_upload>>8)&0xFF;//寄存器2H-数据
								send_buff[10]=Position_upload&0xFF;//寄存器2L-数据
								send(1,send_buff,13);//向客户端发送
								memset(send_buff,0,13);
							}
						}
					}
					break;

				case 0x05://写单个线圈(请求：MBAP 功能码 寄存器地址H 寄存器地址L 数据H(FF/00) 数据L(00))
					send_buff[4]=0X00;//数据长度
					send_buff[5]=0X06;//数据长度
					send_buff[8]=Drive_control_array[8];//寄存器地址H
					send_buff[9]=Drive_control_array[9];//寄存器地址H
					if(Drive_control_array[8]==0x20)//判断起始地址
					{
						switch(Drive_control_array[9])//判断起始地址
						{
							case 0x01://原点回归/停止
								if(Drive_control_array[10]==0xFF)//回归
								{
									if(Position_flag==0)//不在原点
									{
										if(Sports_status_flag==0)//判断运动状态
										{
											send_buff[10]=0XFF;
											send_buff[11]=0X00;
											send(1,send_buff,12);//向客户端发送
											memset(send_buff,0,13);
											Extreme_position_flag=0;
											Zero_regression_flag=0;
											Sports_status_flag=1;
											Target_Position=0;//绝对定位位置设置为0
											if(HAL_GPIO_ReadPin(IN0_GPIO_Port,IN0_Pin)==GPIO_PIN_RESET)//在尾部-正向移动
											{
												Motor_drive_send[0]=GPIO_PIN_RESET;
												Motor_drive_send[1]=((One_Circle_Distance*1000000)/(zero_return_speed_value))>>8&0xff;
												Motor_drive_send[2]=(One_Circle_Distance*1000000)/(zero_return_speed_value)&0xff;
												osMessageQueuePut(Motor_driveQueueHandle,Motor_drive_send,1,0);
											}
											else
											{
												Motor_drive_send[0]=GPIO_PIN_SET;
												Motor_drive_send[1]=((One_Circle_Distance*1000000)/(zero_return_speed_value))>>8&0xff;
												Motor_drive_send[2]=(One_Circle_Distance*1000000)/(zero_return_speed_value)&0xff;
												osMessageQueuePut(Motor_driveQueueHandle,Motor_drive_send,1,0);
											}
										}
									}
								}
								else if(Drive_control_array[10]==0x00)//停止
								{
									send_buff[10]=0X00;
									send_buff[11]=0X00;
									send(1,send_buff,12);//向客户端发送
									memset(send_buff,0,13);
//									HAL_GPIO_WritePin(TIM8_CH1N_GPIO_Port,TIM8_CH1N_Pin,GPIO_PIN_SET);//PA7-电机使能正输入(GPIO_PIN_RESET:开始，GPIO_PIN_SET:停止）
									HAL_TIM_PWM_Stop_IT(&htim8,TIM_CHANNEL_1);//关闭PWM输出
									Sports_status_flag=0;
								}
								break;

							case 0x02://正转点动/停止
								if(Drive_control_array[10]==0xFF)//开始
								{
									send_buff[10]=0XFF;
									send_buff[11]=0X00;
									send(1,send_buff,12);//向客户端发送
									memset(send_buff,0,13);
									Sports_status_flag=1;
									Position_flag=0;
									Motor_drive_send[0]=GPIO_PIN_RESET;
									Motor_drive_send[1]=((One_Circle_Distance*1000000)/(running_speed_value))>>8&0xff;//自动重装载值n=(One_Circle_Distance*1000000*1000)/(running_speed_value*Subtraction)
									Motor_drive_send[2]=(One_Circle_Distance*1000000)/(running_speed_value)&0xff;
									osMessageQueuePut(Motor_driveQueueHandle,Motor_drive_send,1,0);
								}
								else//停止
								{
									send_buff[10]=0X00;
									send_buff[11]=0X00;
									send(1,send_buff,12);//向客户端发送
									memset(send_buff,0,13);
//									HAL_GPIO_WritePin(TIM8_CH1N_GPIO_Port,TIM8_CH1N_Pin,GPIO_PIN_SET);//PA7-电机使能正输入(GPIO_PIN_RESET:开始，GPIO_PIN_SET:停止）
									HAL_TIM_PWM_Stop_IT(&htim8,TIM_CHANNEL_1);//关闭PWM输出
									Sports_status_flag=0;
								}
								break;

							case 0x03://反转点动/停止
								if(Drive_control_array[10]==0xFF)//开始
								{
									send_buff[10]=0XFF;
									send_buff[11]=0X00;
									send(1,send_buff,12);//向客户端发送
									memset(send_buff,0,13);
									Sports_status_flag=1;
									Position_flag=0;
									Motor_drive_send[0]=GPIO_PIN_SET;
									Motor_drive_send[1]=((One_Circle_Distance*1000000)/(running_speed_value))>>8&0xff;
									Motor_drive_send[2]=(One_Circle_Distance*1000000)/(running_speed_value)&0xff;
									osMessageQueuePut(Motor_driveQueueHandle,Motor_drive_send,1,0);
								}
								else//停止
								{
									send_buff[10]=0X00;
									send_buff[11]=0X00;
									send(1,send_buff,12);//向客户端发送
									memset(send_buff,0,13);
//									HAL_GPIO_WritePin(TIM8_CH1N_GPIO_Port,TIM8_CH1N_Pin,GPIO_PIN_SET);//PA7-电机使能正输入(GPIO_PIN_RESET:开始，GPIO_PIN_SET:停止）
									HAL_TIM_PWM_Stop_IT(&htim8,TIM_CHANNEL_1);//关闭PWM输出
									Sports_status_flag=0;
								}
								break;

							case 0x04://相对运动/停止
								if(Drive_control_array[10]==0xFF)//开始
								{
									send_buff[10]=0XFF;
									send_buff[11]=0X00;
									send(1,send_buff,12);//向客户端发送
									memset(send_buff,0,13);
									if(Sports_status_flag==0)
									{
										Position_flag=0;
										Sports_status_flag=1;
										Motor_drive_send[0]=GPIO_PIN_RESET;
										Motor_drive_send[1]=((One_Circle_Distance*1000000)/(running_speed_value))>>8&0xff;
										Motor_drive_send[2]=(One_Circle_Distance*1000000)/(running_speed_value)&0xff;
										osMessageQueuePut(Motor_driveQueueHandle,Motor_drive_send,1,0);
									}
								}
								else//停止
								{
									send_buff[10]=0X00;
									send_buff[11]=0X00;
									send(1,send_buff,12);//向客户端发送
									memset(send_buff,0,13);
//									HAL_GPIO_WritePin(TIM8_CH1N_GPIO_Port,TIM8_CH1N_Pin,GPIO_PIN_SET);//PA7-电机使能正输入(GPIO_PIN_RESET:开始，GPIO_PIN_SET:停止）
									HAL_TIM_PWM_Stop_IT(&htim8,TIM_CHANNEL_1);//关闭PWM输出
									Sports_status_flag=0;
								}
								break;

							case 0x05://绝对运动/停止
								if(Drive_control_array[10]==0xFF)//开始
								{
									send_buff[10]=0XFF;
									send_buff[11]=0X00;
									send(1,send_buff,12);//向客户端发送
									memset(send_buff,0,13);
									if(Sports_status_flag==0&&Extreme_position_flag==0)
									{
										if(Position_upload*10<Target_Position||Position<0)//当前位置小于目标位置或当前位置小于0-正向移动
										{
											Motor_drive_send[0]=GPIO_PIN_RESET;
											Motor_drive_send[1]=((One_Circle_Distance*1000000)/(running_speed_value))>>8&0xff;
											Motor_drive_send[2]=(One_Circle_Distance*1000000)/(running_speed_value)&0xff;
											osMessageQueuePut(Motor_driveQueueHandle,Motor_drive_send,1,0);
										}
										else if(Position_upload*10>Target_Position&&Position_flag==0)//当前位置大于目标位置且不在原点-反向移动
										{
											Motor_drive_send[0]=GPIO_PIN_SET;
											Motor_drive_send[1]=((One_Circle_Distance*1000000)/(running_speed_value))>>8&0xff;
											Motor_drive_send[2]=(One_Circle_Distance*1000000)/(running_speed_value)&0xff;
											osMessageQueuePut(Motor_driveQueueHandle,Motor_drive_send,1,0);
										}
										Position_flag=0;
										Sports_status_flag=1;
									}
								}
								else//停止
								{
									send_buff[10]=0X00;
									send_buff[11]=0X00;
									send(1,send_buff,12);//向客户端发送
									memset(send_buff,0,13);
//									HAL_GPIO_WritePin(TIM8_CH1N_GPIO_Port,TIM8_CH1N_Pin,GPIO_PIN_SET);//PA7-电机使能正输入(GPIO_PIN_RESET:开始，GPIO_PIN_SET:停止）
									HAL_TIM_PWM_Stop_IT(&htim8,TIM_CHANNEL_1);//关闭PWM输出
									Sports_status_flag=0;
								}
								break;

							case 0x14://停止运动状态
								if(Drive_control_array[10]==0xFF)//停止
								{
//									HAL_GPIO_WritePin(TIM8_CH1N_GPIO_Port,TIM8_CH1N_Pin,GPIO_PIN_SET);//PA7-电机使能正输入(GPIO_PIN_RESET:开始，GPIO_PIN_SET:停止）
									HAL_TIM_PWM_Stop_IT(&htim8,TIM_CHANNEL_1);//关闭PWM输出
									Sports_status_flag=0;
									send_buff[10]=0XFF;
									send_buff[11]=0X00;
									Detained_pulse_flag=1;
								}
								else
								{
									send_buff[10]=0X00;
									send_buff[11]=0X00;
								}
								send(1,send_buff,12);//向客户端发送
								memset(send_buff,0,13);
								break;

							case 0x00://硬触发启动/停止
								if(Drive_control_array[10]==0xFF)//开始
								{
									Hard_Trigger_start_flag=1;
									send_buff[10]=0XFF;
									send_buff[11]=0X00;
								}
								else//停止
								{
									Hard_Trigger_start_flag=0;
									send_buff[10]=0X00;
									send_buff[11]=0X00;
								}
								send(1,send_buff,12);//向客户端发送
								memset(send_buff,0,13);
								break;

							case 0x06://伺服复位
								if(Drive_control_array[10]==0xFF)
								{
									send_buff[10]=0XFF;
									send_buff[11]=0X00;
									send(1,send_buff,12);//向客户端发送
									memset(send_buff,0,13);
									Servo_reset_flag=1;
								}
								else if(Drive_control_array[10]==0x00)
								{
									send_buff[10]=0X00;
									send_buff[11]=0X00;
									send(1,send_buff,12);//向客户端发送
									memset(send_buff,0,13);
									Servo_reset_flag=0;
								}
								break;

							case 0x07://伺服急停
								if(Drive_control_array[10]==0xFF)
								{
									send_buff[10]=0XFF;
									send_buff[11]=0X00;
								}
								else
								{
									send_buff[10]=0X00;
									send_buff[11]=0X00;
								}
								send(1,send_buff,12);//向客户端发送
								memset(send_buff,0,13);
								break;

							case 0x09://雷达上电/断电
								if(Drive_control_array[10]==0xFF)
								{
									send_buff[10]=0XFF;
									send_buff[11]=0X00;
									HAL_GPIO_WritePin(TIM8_CH3_GPIO_Port,TIM8_CH3_Pin,GPIO_PIN_RESET);//PC8-雷达上电（低电平上电，高电平断电）
								}
								else
								{
									send_buff[10]=0X00;
									send_buff[11]=0X00;
									HAL_GPIO_WritePin(TIM8_CH3_GPIO_Port,TIM8_CH3_Pin,GPIO_PIN_SET);//PC8-雷达上电（低电平上电，高电平断电）
								}
								send(1,send_buff,12);//向客户端发送
								memset(send_buff,0,13);
								break;

							case 0x0F://PLC错误清除
								if(Drive_control_array[10]==0xFF)
								{
									send_buff[10]=0XFF;
									send_buff[11]=0X00;
								}
								else
								{
									send_buff[10]=0X00;
									send_buff[11]=0X00;
								}
								send(1,send_buff,12);//向客户端发送
								memset(send_buff,0,13);
								break;

							default:
								break;
						}
					}
					break;

				case 0x06://写单个保持寄存器(请求：MBAP 功能码 寄存器地址H 寄存器地址L 寄存器值H 寄存器值L)
//					if(Sports_status_flag==0)//未开始运动
//					{
						send_buff[4]=0X00;//数据长度
						send_buff[5]=0X06;//数据长度
						send_buff[8]=Drive_control_array[8];//寄存器地址
						send_buff[9]=Drive_control_array[9];//寄存器地址
						send_buff[10]=Drive_control_array[10];//寄存器值H
						send_buff[11]=Drive_control_array[11];//寄存器值L
						if(Drive_control_array[8]==0x01)//判断起始地址
						{
							if(Drive_control_array[9]==0x4A)//判断起始地址——加速时间
							{
								send(1,send_buff,12);//向客户端发送
								memset(send_buff,0,13);
							}
							else if(Drive_control_array[9]==0x4E)//判断起始地址——减速时间
							{
								send(1,send_buff,12);//向客户端发送
								memset(send_buff,0,13);
							}
							else if(Drive_control_array[9]==0x00)//判断起始地址——实时位置上传控制
							{
								if(Drive_control_array[10]||Drive_control_array[11])
								{
									Position_upload_flag=1;//开始实时位置上传
								}
								else
								{
									Position_upload_flag=0;//停止实时位置上传
								}
								send(1,send_buff,12);//向客户端发送
								memset(send_buff,0,13);
							}
							else if(Drive_control_array[9]==0x30)//判断起始地址——硬触发个数
							{
								Hard_Trigger_Number=(Drive_control_array[10]<<8|Drive_control_array[11]);//大端传输数据处理——硬触发个数
								send(1,send_buff,12);//向客户端发送
								memset(send_buff,0,13);
							}
						}
//					}
					break;

				case 0x10://写多个保持寄存器(请求：MBAP(7位) 功能码 起始地址H 起始地址L 寄存器数量H 寄存器数量L 字节长度 寄存器值)
//				if(Sports_status_flag==0)//未开始运动
//				{
						send_buff[4]=0X00;//数据长度
						send_buff[5]=0X06;//数据长度
						send_buff[8]=Drive_control_array[8];//寄存器起始地址H
						send_buff[9]=Drive_control_array[9];//寄存器起始地址L
						send_buff[10]=Drive_control_array[10];//寄存器数量H
						send_buff[11]=Drive_control_array[11];//寄存器数量L
						if(Drive_control_array[8]==0x00)//判断起始地址
						{
							if(Drive_control_array[9]==0x64)//判断起始地址——回零速度
							{
								zero_return_speed_value=(Drive_control_array[13]<<8|Drive_control_array[14]|Drive_control_array[15]<<24|Drive_control_array[16]<<16);//大端传输数据处理——回零速度0.001mm/s
								send(1,send_buff,12);//向客户端发送
								memset(send_buff,0,13);
							}
							else if(Drive_control_array[9]==0x68)//判断起始地址——回零蠕变速度
							{
								zero_return_creep_speed_value=(Drive_control_array[13]<<8|Drive_control_array[14]|Drive_control_array[15]<<24|Drive_control_array[16]<<16);//大端传输数据处理——回零蠕变速度0.001mm/s
								send(1,send_buff,12);//向客户端发送
								memset(send_buff,0,13);
							}
							else if(Drive_control_array[9]==0x78)//判断起始地址——运行速度
							{
//								running_speed_value=(Drive_control_array[13]<<24|Drive_control_array[14]<<16|Drive_control_array[15]<<8|Drive_control_array[16]);//大端传输数据处理——运行速度0.001mm/s
								running_speed_value=(Drive_control_array[13]<<8|Drive_control_array[14]|Drive_control_array[15]<<24|Drive_control_array[16]<<16);//大端传输数据处理——运行速度0.001mm/s
								send(1,send_buff,12);//向客户端发送
								memset(send_buff,0,13);
							}
							else if(Drive_control_array[9]==0x7A)//判断起始地址——相对定位距离
							{
								send(1,send_buff,12);//向客户端发送
								memset(send_buff,0,13);
							}
							else if(Drive_control_array[9]==0x7C)//判断起始地址——绝对定位位置
							{
								Absolute_position_flag=1;
								Target_Position=(Drive_control_array[13]<<8|Drive_control_array[14]|Drive_control_array[15]<<24|Drive_control_array[16]<<16);//大端传输数据处理——绝对定位位置0.001mm
								if(Target_Position==0x00)
								{
									Extreme_position_flag=0;
									Zero_regression_flag=0;
								}
								send(1,send_buff,12);//向客户端发送
								memset(send_buff,0,13);
							}
							else if(Drive_control_array[9]==0x7E)//判断起始地址——设备最大运行行程
							{
								send(1,send_buff,12);//向客户端发送
								memset(send_buff,0,13);
							}
							else if(Drive_control_array[9]==0x80)//判断起始地址——零点位置坐标
							{
								Zero_Position=(Drive_control_array[13]<<8|Drive_control_array[14]|Drive_control_array[15]<<24|Drive_control_array[16]<<16);//大端传输数据处理——零点位置0.001mm
								send(1,send_buff,12);//向客户端发送
								memset(send_buff,0,13);
							}
						}
						else if(Drive_control_array[8]==0x01)//判断起始地址
						{
							if(Drive_control_array[9]==0x2C)//判断起始地址——起始硬触发位置
							{
								Hard_Trigger_Position=(Drive_control_array[13]<<8|Drive_control_array[14]|Drive_control_array[15]<<24|Drive_control_array[16]<<16);//大端传输数据处理——起始硬触发位置0.001mm
								Position_lastpulsec=Hard_Trigger_Position;
								send(1,send_buff,12);//向客户端发送
								memset(send_buff,0,13);
							}
							else if(Drive_control_array[9]==0x2E)//判断起始地址——硬触发间隔
							{
								Hard_Trigger_Interval=(Drive_control_array[13]<<8|Drive_control_array[14]|Drive_control_array[15]<<24|Drive_control_array[16]<<16);//大端传输数据处理——硬触发间隔0.001mm
								send(1,send_buff,12);//向客户端发送
								memset(send_buff,0,13);
							}
						}
//					}
					break;

				default:
					break;
			}
			memset(Drive_control_array,0,20);
		}
  }
}

void Motor_drive(void *argument)//电动驱动
{
	uint8_t status=0;
//	uint16_t number_i=2000;
	uint16_t number;
	uint8_t Motor_drive_receive[3];//电机驱动数组
	for(;;)
	{
		status=osMessageQueueGet(Motor_driveQueueHandle,Motor_drive_receive,NULL,0);
		if(status==osOK)
		{
			if(Sports_status_flag==1)
			{
				if(HAL_GPIO_ReadPin(IN3_GPIO_Port,IN3_Pin)==GPIO_PIN_RESET||HAL_GPIO_ReadPin(IN4_GPIO_Port,IN4_Pin)==GPIO_PIN_RESET)//判断驱动器是否准备未完成，是否驱动器故障
				{
					Sports_status_flag=0;
				}
				else
				{
					number=Motor_drive_receive[1]<<8|Motor_drive_receive[2];
					HAL_GPIO_WritePin(TIM8_CH1N_GPIO_Port,TIM8_CH1N_Pin,GPIO_PIN_RESET);//PA7-电机使能正输入(GPIO_PIN_RESET:开始，GPIO_PIN_SET:停止）
					osDelay(100);
					HAL_GPIO_WritePin(TIM8_CH2_GPIO_Port,TIM8_CH2_Pin,(GPIO_PinState)Motor_drive_receive[0]);//PC7-电机方向控制(GPIO_PIN_RESET:顺时针，GPIO_PIN_SET:逆时针）
					osDelay(100);
					__HAL_TIM_SET_AUTORELOAD(&htim8,number-1);//修改自动重装载值
//					__HAL_TIM_SET_COMPARE(&htim8, TIM_CHANNEL_1, (number/2)-1);//修改占空比
					HAL_TIM_Base_Start_IT(&htim8);//开启TIM8定时器中断（20KHZ，周期50us）
					HAL_TIM_PWM_Start_IT(&htim8,TIM_CHANNEL_1);//启动TIM8_CH1的PWM波输出（中断）
//					if(number>=10)
//					{
//						while(number_i>=number&&HAL_GPIO_ReadPin(TIM8_CH1N_GPIO_Port,TIM8_CH1N_Pin)==GPIO_PIN_RESET)
//						{
//							__HAL_TIM_SET_AUTORELOAD(&htim8,number_i-1);//修改自动重装载值
//							__HAL_TIM_SET_COMPARE(&htim8, TIM_CHANNEL_1, (number_i/2)-1);//修改占空比
//							HAL_TIM_PWM_Start_IT(&htim8,TIM_CHANNEL_1);//启动TIM8_CH1的PWM波输出（中断）
//							if(2000>number_i&&number_i>=200)
//							{
//								number_i=number_i-10;
//								osDelay(2);
//							}
//							else
//							{
//								number_i=number_i-5;
//								osDelay(6);
//							}
//						}
//						number_i=2000;
//					}
				}
			}
		}
		memset(Motor_drive_receive,0,3);
	}
}

void Encoder(void *argument)//电动机编码器通讯
{
	uint8_t Real_time_location_array[6]={0xCF,0xAE,0x00,0x00,0x00,0x00};//实时位置数组
  for(;;)
  {
		if(Encoder_Processing_flag==1)
		{
			Encoder_Processing_flag=0;
			if(Position_flag==1||HAL_GPIO_ReadPin(IN1_GPIO_Port,IN1_Pin)==GPIO_PIN_RESET)//原点校准
			{
				Position=0;
				Position_upload=0;
				Detained_pulse_flag=1;
			}
			else if(Position_flag==0)
			{
				Position = ((float)Motor_pulsec_ount/Subtraction)*One_Circle_Distance;	//距原点距离
				Position_upload = Position*100;//位置上传数据（单位0.01mm）
				if(Zero_regression_flag==1&&Absolute_position_flag==1)//之前回过零且接收到绝对位置
				{
					if(HAL_GPIO_ReadPin(TIM8_CH2_GPIO_Port,TIM8_CH2_Pin)==GPIO_PIN_RESET)//正向移动
					{
						if(Position_upload*10>=Target_Position)
						{
//							HAL_GPIO_WritePin(TIM8_CH1N_GPIO_Port,TIM8_CH1N_Pin,GPIO_PIN_SET);//PA7-电机使能正输入(GPIO_PIN_RESET:开始，GPIO_PIN_SET:停止）
							HAL_TIM_PWM_Stop_IT(&htim8,TIM_CHANNEL_1);//关闭PWM输出
							Sports_status_flag=0;	//运动状态
							Absolute_position_flag=0;
							Detained_pulse_flag=1;
						}
					}
					else if(HAL_GPIO_ReadPin(TIM8_CH2_GPIO_Port,TIM8_CH2_Pin)==GPIO_PIN_SET)//反向移动
					{
						if(Position_upload*10<=Target_Position)
						{
//							HAL_GPIO_WritePin(TIM8_CH1N_GPIO_Port,TIM8_CH1N_Pin,GPIO_PIN_SET);//PA7-电机使能正输入(GPIO_PIN_RESET:开始，GPIO_PIN_SET:停止）
							HAL_TIM_PWM_Stop_IT(&htim8,TIM_CHANNEL_1);//关闭PWM输出
							Sports_status_flag=0;	//运动状态
							Absolute_position_flag=0;
							Detained_pulse_flag=1;
						}
					}
				}
			}
			if(Position_upload_flag==1)//实时位置上传
			{
				Real_time_location_array[2]=Position_upload&0xFF;
				Real_time_location_array[3]=(Position_upload>>8)&0xFF;
				Real_time_location_array[4]=(Position_upload>>16)&0xFF;
				Real_time_location_array[5]=(Position_upload>>24)&0xFF;
				send(2,Real_time_location_array,6);//向客户端发送
			}
			if(Hard_Trigger_flag==1)
			{
				Trigger_Interval=Position*1000-Position_lastpulsec;
				if(Trigger_Interval>=Hard_Trigger_Interval*10)//.。。。。。。。。。。。。。。。。。。。。。。。。。。。。。。。。。。。。。。。。。。。。。。。
				{
					Position_lastpulsec=Position_lastpulsec+Hard_Trigger_Interval*10;//.。。。。。。。。。。。。。。。。。。。。。。。。。。。。。。。。。。。。。。。。。。。。。。。
					Hard_Trigger_flag=0;
					Trigger_Interval=0;
				}
			}
		}
  }
}

void Pulse_Emission(void *argument)//脉冲触发（TIM13通道）
{
  for(;;)
  {
//		osDelay(1);
		if(Hard_Trigger_start_flag==1&&Position_upload>=Hard_Trigger_Position&&Sports_status_flag==1)//硬触发条件(硬触发启动，到达硬触发位置，运动状态)
		{
			if(Hard_Trigger_flag==0)
			{
				if(Hard_Trigger_Current_Number<Hard_Trigger_Number)//硬触发次数判定
				{
					Hard_Trigger_Current_Number++;
					HAL_GPIO_WritePin(PULSE_GPIO_Port, PULSE_Pin, GPIO_PIN_SET);//PA2-硬触发
					HAL_TIM_Base_Start_IT(&htim13);//开启TIM13定时器中断（1MHZ，计数50次，50us）
					Hard_Trigger_flag=1;
				}
				else
				{
					Hard_Trigger_Current_Number=0;
					Hard_Trigger_start_flag=0;
				}
			}
		}
		else if(Hard_Trigger_start_flag==0)
		{
			Hard_Trigger_Current_Number=0;
		}
  }
}

void Extreme_position_Drive(void *argument)//极限位置控制
{
  for(;;)
  {
		osDelay(1);
		if(Extreme_position_flag==1)
		{
//			HAL_GPIO_WritePin(TIM8_CH1N_GPIO_Port,TIM8_CH1N_Pin,GPIO_PIN_SET);//PA7-电机使能正输入(GPIO_PIN_RESET:开始，GPIO_PIN_SET:停止）
			HAL_TIM_PWM_Stop_IT(&htim8,TIM_CHANNEL_1);//关闭PWM输出
			Sports_status_flag=0;
			Detained_pulse_flag=1;
		}
  }
}

void Uart3_Communicate(void *argument)//串口通讯
{
	const uint8_t str_date[12] = __DATE__; //示例 "Mar 23 2022"
	const uint8_t str_time[10] = __TIME__;
	uint8_t uart_receive_buff[3];
	uint8_t	VERSION[6];
	uint8_t y1,y2,d1,d2,t1,t2;
  for(;;)
  {
		osDelay(1);
		HAL_UART_Receive_IT(&huart3, uart_receive_buff, 3);
		VERSION[0] = 0XAA;
		VERSION[1] = 0X0B;//轨道号
		y1 = str_date[9] - '0';
		y2 = str_date[10] - '0';
		VERSION[2] = y1 << 4 | y2;
		switch(str_date[2])
    {
        case 'n': //Jan和jun
           VERSION[3] = str_date[1] == 'a' ? 1 : 6; //判断1月还是6月
            break;

        case 'b': //Feb
            VERSION[3] = 2;
            break;

        case 'r': //Mart和Apr
            VERSION[3] = str_date[1] == 'a' ? 3 : 4; //判断3月还是4月
            break;

        case 'y': //May
            VERSION[3] = 5;
            break;

        case 'l': //Jul
            VERSION[3] = 7;
            break;

        case 'g': //Aug
            VERSION[3] = 8;
            break;

        case 'p': //Sep
            VERSION[3] = 9;
            break;

        case 't': //Oct
            VERSION[3] = 0X10; //10
            break;

        case 'v': //Nov
            VERSION[3] = 0X11; //11
            break;

        case 'c': //Dec
            VERSION[3] = 0X12; //12
            break;
    }
		d1 = str_date[4] - '0'; //日期 十位
    d2 = str_date[5] - '0'; //日期 个位
		VERSION[4] = d1 << 4 | d2;
		t1 = str_time[0] - '0'; //小时 十位
    t2 = str_time[1] - '0'; //小时 个位
		VERSION[5] = t1 << 4 | t2;

		if(uart_receive_buff[0]==0XAA && uart_receive_buff[1]==0X01 && uart_receive_buff[2]==0XBB)
		{
			HAL_UART_Transmit(&huart3, VERSION, 6, 10);
		}
		memset(uart_receive_buff,0,3);
  }
}

void Servo_reset(void *argument)//伺服复位
{
  for(;;)
  {
		osDelay(1);
		if(Servo_reset_flag==1)
		{
			HAL_TIM_PWM_Stop_IT(&htim8,TIM_CHANNEL_1);//关闭PWM输出
//			HAL_GPIO_WritePin(TIM8_CH1N_GPIO_Port,TIM8_CH1N_Pin,GPIO_PIN_SET);//PA7-电机使能正输入(GPIO_PIN_RESET:开始，GPIO_PIN_SET:停止）
			Sports_status_flag=0;
			HAL_GPIO_WritePin(TIM8_CH2N_GPIO_Port,TIM8_CH2N_Pin,GPIO_PIN_RESET);
			osDelay(500);
			HAL_GPIO_WritePin(TIM8_CH2N_GPIO_Port,TIM8_CH2N_Pin,GPIO_PIN_SET);
			Servo_reset_flag=0;
		}
	}
}

void Iwdg_function(void *argument)//看门狗函数
{
  for(;;)
  {
		osDelay(1);
		if(Iwdg_Number<40)//当等于40时，则说明20min没有上位机控制信号，则单片机重启
		{
			Iwdg_Number++;
			HAL_IWDG_Refresh(&hiwdg);//最大喂狗时间32s
			osDelay(30000);//30s
			if(Iwdg_Number==10)
			{
				HAL_GPIO_WritePin(TIM8_CH1N_GPIO_Port,TIM8_CH1N_Pin,GPIO_PIN_SET);//PA7-电机使能正输入(GPIO_PIN_RESET:开始，GPIO_PIN_SET:停止）
			}
		}
	}
}

void Detained_pulse(void *argument)//滞留脉冲清除
{
  for(;;)
  {
		osDelay(1);
		if(Detained_pulse_flag==1)
		{
			HAL_GPIO_WritePin(TIM8_CH4_GPIO_Port,TIM8_CH4_Pin,GPIO_PIN_RESET);//PC9-清除滞留脉冲（低电平清除）
			osDelay(20);
			HAL_GPIO_WritePin(TIM8_CH4_GPIO_Port,TIM8_CH4_Pin,GPIO_PIN_SET);//PC9-清除滞留脉冲
			Detained_pulse_flag=0;
		}
	}
}

/* USER CODE END Application */
